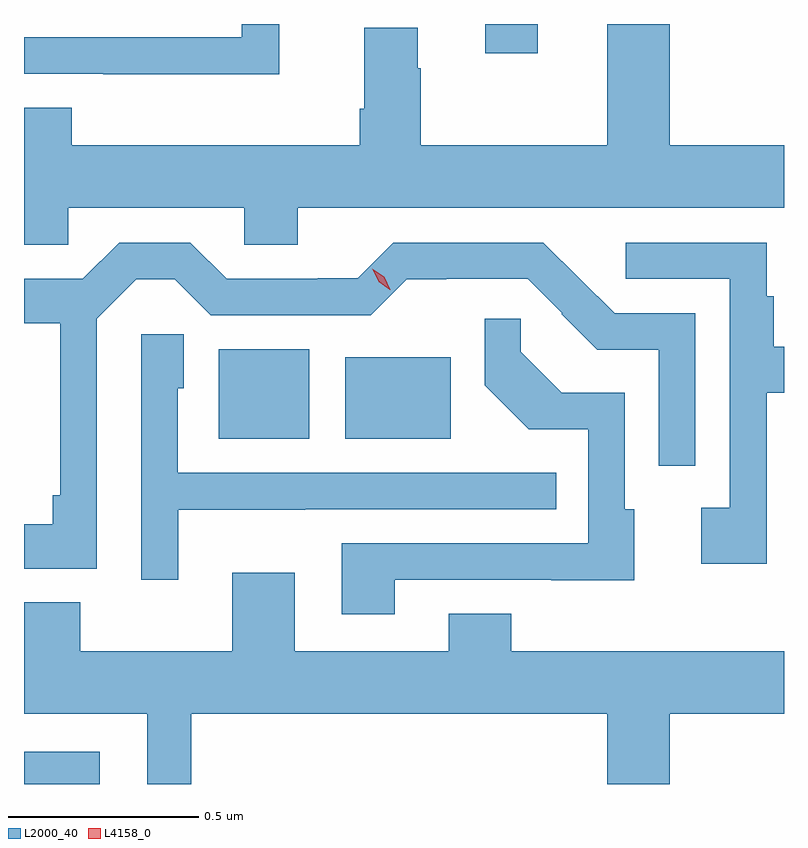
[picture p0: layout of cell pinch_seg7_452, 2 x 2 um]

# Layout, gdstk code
import gdstk
lib = gdstk.Library(unit=1e-6, precision=1e-09)
def R(c, l, rs):  # rectangles x0, y0, x1, y1
    for r in rs: c.add(gdstk.rectangle(r[:2], r[2:], *l))
def P(c, l, *ps):  # polygons
    for p in ps: c.add(gdstk.Polygon(p, *l))
L2000_40 = (2000, 40)
L4158_0 = (4158, 0)

pinch_seg7_452 = lib.new_cell('pinch_seg7_452')
R(pinch_seg7_452, L2000_40, [(283.353,1067.031,283.552,1067.116), (283.865,1067.939,284.104,1068.175), (284.198,1067.939,284.476,1068.154), (284.567,1068.954,284.705,1069.031)])
P(pinch_seg7_452, L2000_40, [(284.025,1069.031),(283.926,1069.031),(283.926,1068.996),(283.353,1068.996),(283.353,1068.9),(283.561,1068.9),(283.561,1068.899),(284.025,1068.899)],
  [(284.888,1069.031),(284.888,1068.712),(284.397,1068.712),(284.397,1068.914),(284.389,1068.914),(284.389,1069.021),(284.249,1069.021),(284.249,1068.808),(284.237,1068.808),(284.237,1068.712),(283.478,1068.712),(283.478,1068.811),(283.353,1068.811),(283.353,1068.45),(283.47,1068.45),(283.47,1068.548),(283.932,1068.548),(283.932,1068.45),(284.074,1068.45),(284.074,1068.548),(285.353,1068.548),(285.353,1068.712),(285.052,1068.712),(285.052,1069.031)],
  [(283.545,1068.255),(283.649,1068.359),(283.75,1068.359),(283.845,1068.264),(284.265,1068.264),(284.36,1068.359),(284.464,1068.359),(284.464,1068.36),(284.679,1068.36),(284.769,1068.27),(284.767,1068.268),(284.861,1068.174),(285.024,1068.174),(285.024,1067.868),(285.12,1067.868),(285.12,1068.27),(284.907,1068.27),(284.816,1068.361),(284.815,1068.36),(284.719,1068.456),(284.325,1068.456),(284.231,1068.362),(284.126,1068.362),(284.126,1068.36),(283.887,1068.36),(283.791,1068.456),(283.604,1068.456),(283.508,1068.36),(283.353,1068.36),(283.353,1068.244),(283.448,1068.244),(283.448,1067.791),(283.429,1067.791),(283.429,1067.714),(283.353,1067.714),(283.353,1067.598),(283.545,1067.598)],
  [(285.307,1068.061),(285.353,1068.061),(285.353,1068.182),(285.326,1068.182),(285.326,1068.314),(285.308,1068.314),(285.308,1068.456),(284.937,1068.456),(284.937,1068.36),(285.21,1068.36),(285.21,1067.758),(285.135,1067.758),(285.135,1067.61),(285.307,1067.61)],
  [(284.329,1067.568),(284.741,1067.568),(284.741,1067.567),(284.959,1067.567),(284.959,1067.754),(284.934,1067.754),(284.934,1068.06),(284.768,1068.06),(284.66,1068.168),(284.66,1068.256),(284.565,1068.256),(284.565,1068.08),(284.681,1067.964),(284.838,1067.964),(284.838,1067.664),(284.189,1067.664),(284.189,1067.478),(284.329,1067.478)],
  [(283.759,1067.753),(284.093,1067.753),(284.093,1067.754),(284.753,1067.754),(284.753,1067.85),(283.758,1067.85),(283.758,1068.072),(283.774,1068.072),(283.774,1068.215),(283.662,1068.215),(283.662,1067.568),(283.759,1067.568)],
  [(283.793,1067.216),(284.888,1067.216),(284.888,1067.031),(285.052,1067.031),(285.052,1067.216),(285.353,1067.216),(285.353,1067.38),(284.635,1067.38),(284.635,1067.479),(284.471,1067.479),(284.471,1067.38),(284.065,1067.38),(284.065,1067.587),(283.901,1067.587),(283.901,1067.38),(283.501,1067.38),(283.501,1067.509),(283.353,1067.509),(283.353,1067.216),(283.677,1067.216),(283.677,1067.031),(283.793,1067.031)])
P(pinch_seg7_452, L4158_0, [(284.316,1068.332),(284.286,1068.353),(284.27,1068.387),(284.27,1068.387),(284.27,1068.387),(284.301,1068.366),(284.317,1068.332),(284.317,1068.332)])

lib.write_gds('pinch_seg7_452.gds')
